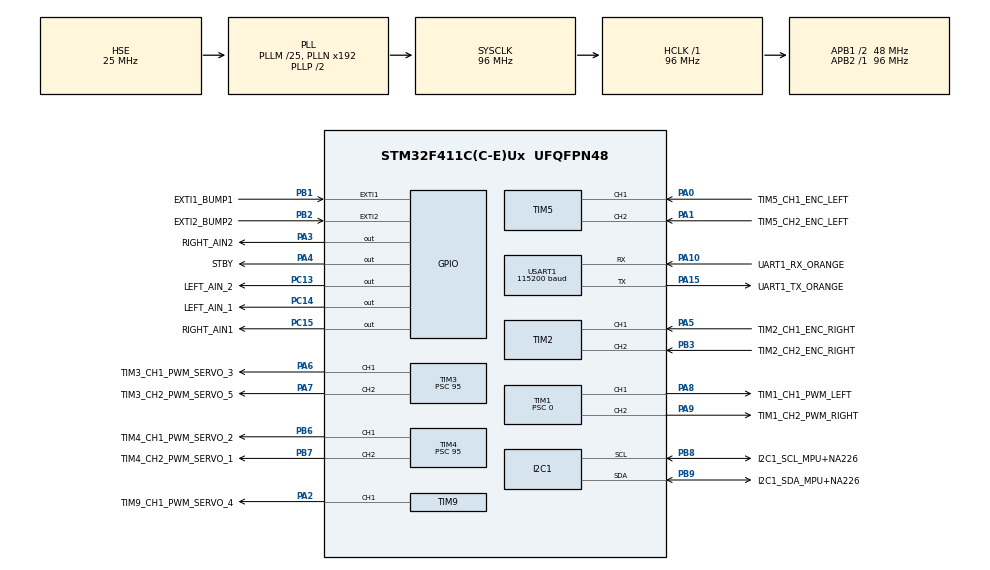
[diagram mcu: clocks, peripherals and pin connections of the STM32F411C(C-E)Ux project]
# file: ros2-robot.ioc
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Dma.Request0=USART1_RX
Dma.Request1=USART1_TX
Dma.USART1_RX.0.Direction=DMA_PERIPH_TO_MEMORY
Dma.USART1_RX.0.FIFOMode=DMA_FIFOMODE_DISABLE
Dma.USART1_RX.0.Instance=DMA2_Stream2
Dma.USART1_RX.0.MemDataAlignment=DMA_MDATAALIGN_BYTE
Dma.USART1_RX.0.MemInc=DMA_MINC_ENABLE
Dma.USART1_RX.0.Mode=DMA_CIRCULAR
Dma.USART1_RX.0.PeriphDataAlignment=DMA_PDATAALIGN_BYTE
Dma.USART1_RX.0.PeriphInc=DMA_PINC_DISABLE
Dma.USART1_RX.0.Priority=DMA_PRIORITY_LOW
Dma.USART1_TX.1.Direction=DMA_MEMORY_TO_PERIPH
Dma.USART1_TX.1.FIFOMode=DMA_FIFOMODE_DISABLE
Dma.USART1_TX.1.Instance=DMA2_Stream7
Dma.USART1_TX.1.MemDataAlignment=DMA_MDATAALIGN_BYTE
Dma.USART1_TX.1.MemInc=DMA_MINC_ENABLE
Dma.USART1_TX.1.Mode=DMA_NORMAL
Dma.USART1_TX.1.PeriphDataAlignment=DMA_PDATAALIGN_BYTE
Dma.USART1_TX.1.PeriphInc=DMA_PINC_DISABLE
Dma.USART1_TX.1.Priority=DMA_PRIORITY_LOW
FREERTOS.Tasks01=defaultTask,24,4096,StartDefaultTask,Default,NULL,Dynamic,NULL,NULL;motorTask,33,1024,MotorControlTask,Default,NULL,Dynamic,NULL,NULL
FREERTOS.configTOTAL_HEAP_SIZE=22000
Mcu.Family=STM32F4
Mcu.Name=STM32F411C(C-E)Ux
Mcu.Package=UFQFPN48
NVIC.DMA2_Stream2_IRQn=true\:5\:0\:false\:false\:true\:true\:false\:true\:true
NVIC.DMA2_Stream7_IRQn=true\:5\:0\:false\:false\:true\:true\:false\:true\:true
NVIC.PriorityGroup=NVIC_PRIORITYGROUP_4
NVIC.USART1_IRQn=true\:5\:0\:false\:false\:true\:true\:true\:true\:true
PA0-WKUP.GPIO_Label=TIM5_CH1_ENC_LEFT
PA0-WKUP.Signal=S_TIM5_CH1
PA1.GPIO_Label=TIM5_CH2_ENC_LEFT
PA1.Signal=S_TIM5_CH2
PA10.GPIO_Label=UART1_RX_ORANGE
PA10.Mode=Asynchronous
PA10.Signal=USART1_RX
PA15.GPIO_Label=UART1_TX_ORANGE
PA15.Mode=Asynchronous
PA15.Signal=USART1_TX
PA2.GPIO_Label=TIM9_CH1_PWM_SERVO_4
PA2.Signal=S_TIM9_CH1
PA3.GPIO_Label=RIGHT_AIN2
PA3.Signal=GPIO_Output
PA4.GPIO_Label=STBY
PA4.Signal=GPIO_Output
PA5.GPIO_Label=TIM2_CH1_ENC_RIGHT
PA5.Signal=S_TIM2_CH1_ETR
PA6.GPIO_Label=TIM3_CH1_PWM_SERVO_3
PA6.Signal=S_TIM3_CH1
PA7.GPIO_Label=TIM3_CH2_PWM_SERVO_5
PA7.Signal=S_TIM3_CH2
PA8.GPIO_Label=TIM1_CH1_PWM_LEFT
PA8.Signal=S_TIM1_CH1
PA9.GPIO_Label=TIM1_CH2_PWM_RIGHT
PA9.Signal=S_TIM1_CH2
PB1.GPIO_Label=EXTI1_BUMP1
PB1.GPIO_ModeDefaultEXTI=GPIO_MODE_IT_FALLING
PB1.GPIO_PuPd=GPIO_PULLUP
PB1.Signal=GPXTI1
PB2.GPIO_Label=EXTI2_BUMP2
PB2.GPIO_ModeDefaultEXTI=GPIO_MODE_IT_FALLING
PB2.GPIO_PuPd=GPIO_PULLUP
PB2.Signal=GPXTI2
PB3.GPIO_Label=TIM2_CH2_ENC_RIGHT
PB3.Signal=S_TIM2_CH2
PB6.GPIO_Label=TIM4_CH1_PWM_SERVO_2
PB6.Signal=S_TIM4_CH1
PB7.GPIO_Label=TIM4_CH2_PWM_SERVO_1
PB7.Signal=S_TIM4_CH2
PB8.GPIO_Label=I2C1_SCL_MPU+NA226
PB8.GPIO_Pu=GPIO_NOPULL
PB8.Mode=I2C
PB8.Signal=I2C1_SCL
PB9.GPIO_Label=I2C1_SDA_MPU+NA226
PB9.Mode=I2C
PB9.Signal=I2C1_SDA
PC13-ANTI_TAMP.GPIO_Label=LEFT_AIN_2
PC13-ANTI_TAMP.Signal=GPIO_Output
PC14-OSC32_IN.GPIO_Label=LEFT_AIN_1
PC14-OSC32_IN.Signal=GPIO_Output
PC15-OSC32_OUT.GPIO_Label=RIGHT_AIN1
PC15-OSC32_OUT.Signal=GPIO_Output
PH0\ -\ OSC_IN.Mode=HSE-External-Oscillator
PH0\ -\ OSC_IN.Signal=RCC_OSC_IN
PH1\ -\ OSC_OUT.Mode=HSE-External-Oscillator
PH1\ -\ OSC_OUT.Signal=RCC_OSC_OUT
ProjectManager.HeapSize=0x200
ProjectManager.StackSize=0x400
ProjectManager.TargetToolchain=STM32CubeIDE
RCC.48MHZClocksFreq_Value=48000000
RCC.AHBFreq_Value=96000000
RCC.APB1CLKDivider=RCC_HCLK_DIV2
RCC.APB1Freq_Value=48000000
RCC.APB1TimFreq_Value=96000000
RCC.APB2Freq_Value=96000000
RCC.APB2TimFreq_Value=96000000
RCC.CortexFreq_Value=96000000
RCC.HCLKFreq_Value=96000000
RCC.HSE_VALUE=25000000
RCC.HSI_VALUE=16000000
RCC.LSE_VALUE=32768
RCC.PLLM=25
RCC.PLLSourceVirtual=RCC_PLLSOURCE_HSE
RCC.SYSCLKFreq_VALUE=96000000
RCC.SYSCLKSource=RCC_SYSCLKSOURCE_PLLCLK
RCC.VCOOutputFreq_Value=192000000
SH.S_TIM1_CH1.0=TIM1_CH1,PWM Generation1 CH1
SH.S_TIM1_CH2.0=TIM1_CH2,PWM Generation2 CH2
SH.S_TIM2_CH1_ETR.0=TIM2_CH1,Encoder_Interface
SH.S_TIM2_CH2.0=TIM2_CH2,Encoder_Interface
SH.S_TIM3_CH1.0=TIM3_CH1,PWM Generation1 CH1
SH.S_TIM3_CH2.0=TIM3_CH2,PWM Generation2 CH2
SH.S_TIM4_CH1.0=TIM4_CH1,PWM Generation1 CH1
SH.S_TIM4_CH2.0=TIM4_CH2,PWM Generation2 CH2
SH.S_TIM5_CH1.0=TIM5_CH1,Encoder_Interface
SH.S_TIM5_CH2.0=TIM5_CH2,Encoder_Interface
SH.S_TIM9_CH1.0=TIM9_CH1,PWM Generation1 CH1
TIM1.Channel-PWM\ Generation1\ CH1=TIM_CHANNEL_1
TIM1.Channel-PWM\ Generation2\ CH2=TIM_CHANNEL_2
TIM1.Period=4799
TIM1.Prescaler=0
TIM2.EncoderMode=TIM_ENCODERMODE_TI12
TIM3.Channel-PWM\ Generation1\ CH1=TIM_CHANNEL_1
TIM3.Channel-PWM\ Generation2\ CH2=TIM_CHANNEL_2
TIM3.Period=19999
TIM3.Prescaler=95
TIM4.Channel-PWM\ Generation1\ CH1=TIM_CHANNEL_1
TIM4.Channel-PWM\ Generation2\ CH2=TIM_CHANNEL_2
TIM4.Period=19999
TIM4.Prescaler=95
TIM5.EncoderMode=TIM_ENCODERMODE_TI12
TIM9.Channel-PWM\ Generation1\ CH1=TIM_CHANNEL_1
TIM9.Period=19999
TIM9.Prescaler=95
USART1.BaudRate=115200
USART1.VirtualMode=VM_ASYNC
VP_FREERTOS_VS_CMSIS_V2.Mode=CMSIS_V2
board=custom

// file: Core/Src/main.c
/* USER CODE BEGIN Header */
/**
  ******************************************************************************
  * @file           : main.c
  * @brief          : Main program body
  ******************************************************************************
  * @attention
  *
  * Copyright (c) 2026 STMicroelectronics.
  * All rights reserved.
  *
  * This software is licensed under terms that can be found in the LICENSE file
  * in the root directory of this software component.
  * If no LICENSE file comes with this software, it is provided AS-IS.
  *
  ******************************************************************************
  */
/* USER CODE END Header */
#include "main.h"
#include "cmsis_os.h"

/* USER CODE BEGIN Includes */
#include "motor_control_task.h"
#include "peripherals.h"
/* USER CODE END Includes */

I2C_HandleTypeDef hi2c1;

TIM_HandleTypeDef htim1;
TIM_HandleTypeDef htim2;
TIM_HandleTypeDef htim3;
TIM_HandleTypeDef htim4;
TIM_HandleTypeDef htim5;
TIM_HandleTypeDef htim9;

UART_HandleTypeDef huart1;
DMA_HandleTypeDef hdma_usart1_rx;
DMA_HandleTypeDef hdma_usart1_tx;

/* Definitions for defaultTask */
osThreadId_t defaultTaskHandle;
const osThreadAttr_t defaultTask_attributes = {
  .name = "defaultTask",
  .stack_size = 4096 * 4,
  .priority = (osPriority_t) osPriorityNormal,
};
/* Definitions for motorTask */
osThreadId_t motorTaskHandle;
const osThreadAttr_t motorTask_attributes = {
  .name = "motorTask",
  .stack_size = 1024 * 4,
  .priority = (osPriority_t) osPriorityAboveNormal1,
};
/* USER CODE BEGIN PV */
volatile uint32_t g_reset_flags = 0;

/* USER CODE END PV */

void SystemClock_Config(void);
static void MX_GPIO_Init(void);
static void MX_DMA_Init(void);
static void MX_USART1_UART_Init(void);
static void MX_I2C1_Init(void);
static void MX_TIM1_Init(void);
static void MX_TIM2_Init(void);
static void MX_TIM3_Init(void);
static void MX_TIM4_Init(void);
static void MX_TIM5_Init(void);
static void MX_TIM9_Init(void);
void StartDefaultTask(void *argument);
void MotorControlTask(void *argument);

int main(void)
{

  /* MCU Configuration--------------------------------------------------------*/

  /* Reset of all peripherals, Initializes the Flash interface and the Systick. */
  HAL_Init();

  /* Configure the system clock */
  SystemClock_Config();

  /* Initialize all configured peripherals */
  MX_GPIO_Init();
  MX_DMA_Init();
  MX_USART1_UART_Init();
  MX_I2C1_Init();
  MX_TIM1_Init();
  MX_TIM2_Init();
  MX_TIM3_Init();
  MX_TIM4_Init();
  MX_TIM5_Init();
  MX_TIM9_Init();
  /* USER CODE BEGIN 2 */

  g_reset_flags = 0;

  if (__HAL_RCC_GET_FLAG(RCC_FLAG_PORRST))  g_reset_flags |= (1u << 0);
  if (__HAL_RCC_GET_FLAG(RCC_FLAG_PINRST))  g_reset_flags |= (1u << 1);
  if (__HAL_RCC_GET_FLAG(RCC_FLAG_SFTRST))  g_reset_flags |= (1u << 2);
  if (__HAL_RCC_GET_FLAG(RCC_FLAG_IWDGRST)) g_reset_flags |= (1u << 3);
  if (__HAL_RCC_GET_FLAG(RCC_FLAG_WWDGRST)) g_reset_flags |= (1u << 4);
  if (__HAL_RCC_GET_FLAG(RCC_FLAG_LPWRRST)) g_reset_flags |= (1u << 5);

  #ifdef RCC_FLAG_BORRST
  if (__HAL_RCC_GET_FLAG(RCC_FLAG_BORRST))  g_reset_flags |= (1u << 6);
  #endif

  __HAL_RCC_CLEAR_RESET_FLAGS();

  HAL_TIM_PWM_Start(&htim1, TIM_CHANNEL_1);
  HAL_TIM_PWM_Start(&htim1, TIM_CHANNEL_2);

  HAL_TIM_Encoder_Start(&htim2, TIM_CHANNEL_ALL);
  HAL_TIM_Encoder_Start(&htim5, TIM_CHANNEL_ALL);

  HAL_GPIO_WritePin(STBY_GPIO_Port, STBY_Pin, GPIO_PIN_SET);

  Periph_ServoStartAll();

  /* USER CODE END 2 */

  /* Init scheduler */
  osKernelInitialize();

  /* Create the thread(s) */
  /* creation of defaultTask */
  defaultTaskHandle = osThreadNew(StartDefaultTask, NULL, &defaultTask_attributes);

  /* creation of motorTask */
  motorTaskHandle = osThreadNew(MotorControlTask, NULL, &motorTask_attributes);

  /* Start scheduler */
  osKernelStart();

  /* We should never get here as control is now taken by the scheduler */
  /* Infinite loop */
  while (1)
  {

  }
}

void SystemClock_Config(void)
{
  RCC_OscInitTypeDef RCC_OscInitStruct = {0};
  RCC_ClkInitTypeDef RCC_ClkInitStruct = {0};

  /** Configure the main internal regulator output voltage
  */
  __HAL_RCC_PWR_CLK_ENABLE();
  __HAL_PWR_VOLTAGESCALING_CONFIG(PWR_REGULATOR_VOLTAGE_SCALE1);

  /** Initializes the RCC Oscillators according to the specified parameters
  * in the RCC_OscInitTypeDef structure.
  */
  RCC_OscInitStruct.OscillatorType = RCC_OSCILLATORTYPE_HSE;
  RCC_OscInitStruct.HSEState = RCC_HSE_ON;
  RCC_OscInitStruct.PLL.PLLState = RCC_PLL_ON;
  RCC_OscInitStruct.PLL.PLLSource = RCC_PLLSOURCE_HSE;
  RCC_OscInitStruct.PLL.PLLM = 25;
  RCC_OscInitStruct.PLL.PLLN = 192;
  RCC_OscInitStruct.PLL.PLLP = RCC_PLLP_DIV2;
  RCC_OscInitStruct.PLL.PLLQ = 4;
  if (HAL_RCC_OscConfig(&RCC_OscInitStruct) != HAL_OK)
  {
    Error_Handler();
  }

  /** Initializes the CPU, AHB and APB buses clocks
  */
  RCC_ClkInitStruct.ClockType = RCC_CLOCKTYPE_HCLK|RCC_CLOCKTYPE_SYSCLK
                              |RCC_CLOCKTYPE_PCLK1|RCC_CLOCKTYPE_PCLK2;
  RCC_ClkInitStruct.SYSCLKSource = RCC_SYSCLKSOURCE_PLLCLK;
  RCC_ClkInitStruct.AHBCLKDivider = RCC_SYSCLK_DIV1;
  RCC_ClkInitStruct.APB1CLKDivider = RCC_HCLK_DIV2;
  RCC_ClkInitStruct.APB2CLKDivider = RCC_HCLK_DIV1;

  if (HAL_RCC_ClockConfig(&RCC_ClkInitStruct, FLASH_LATENCY_3) != HAL_OK)
  {
    Error_Handler();
  }
}

static void MX_I2C1_Init(void)
{

  hi2c1.Instance = I2C1;
  hi2c1.Init.ClockSpeed = 100000;
  hi2c1.Init.DutyCycle = I2C_DUTYCYCLE_2;
  hi2c1.Init.OwnAddress1 = 0;
  hi2c1.Init.AddressingMode = I2C_ADDRESSINGMODE_7BIT;
  hi2c1.Init.DualAddressMode = I2C_DUALADDRESS_DISABLE;
  hi2c1.Init.OwnAddress2 = 0;
  hi2c1.Init.GeneralCallMode = I2C_GENERALCALL_DISABLE;
  hi2c1.Init.NoStretchMode = I2C_NOSTRETCH_DISABLE;
  if (HAL_I2C_Init(&hi2c1) != HAL_OK)
  {
    Error_Handler();
  }

}

static void MX_TIM1_Init(void)
{

  TIM_MasterConfigTypeDef sMasterConfig = {0};
  TIM_OC_InitTypeDef sConfigOC = {0};
  TIM_BreakDeadTimeConfigTypeDef sBreakDeadTimeConfig = {0};

  htim1.Instance = TIM1;
  htim1.Init.Prescaler = 0;
  htim1.Init.CounterMode = TIM_COUNTERMODE_UP;
  htim1.Init.Period = 4799;
  htim1.Init.ClockDivision = TIM_CLOCKDIVISION_DIV1;
  htim1.Init.RepetitionCounter = 0;
  htim1.Init.AutoReloadPreload = TIM_AUTORELOAD_PRELOAD_DISABLE;
  if (HAL_TIM_PWM_Init(&htim1) != HAL_OK)
  {
    Error_Handler();
  }
  sMasterConfig.MasterOutputTrigger = TIM_TRGO_RESET;
  sMasterConfig.MasterSlaveMode = TIM_MASTERSLAVEMODE_DISABLE;
  if (HAL_TIMEx_MasterConfigSynchronization(&htim1, &sMasterConfig) != HAL_OK)
  {
    Error_Handler();
  }
  sConfigOC.OCMode = TIM_OCMODE_PWM1;
  sConfigOC.Pulse = 0;
  sConfigOC.OCPolarity = TIM_OCPOLARITY_HIGH;
  sConfigOC.OCNPolarity = TIM_OCNPOLARITY_HIGH;
  sConfigOC.OCFastMode = TIM_OCFAST_DISABLE;
  sConfigOC.OCIdleState = TIM_OCIDLESTATE_RESET;
  sConfigOC.OCNIdleState = TIM_OCNIDLESTATE_RESET;
  if (HAL_TIM_PWM_ConfigChannel(&htim1, &sConfigOC, TIM_CHANNEL_1) != HAL_OK)
  {
    Error_Handler();
  }
  if (HAL_TIM_PWM_ConfigChannel(&htim1, &sConfigOC, TIM_CHANNEL_2) != HAL_OK)
  {
    Error_Handler();
  }
  sBreakDeadTimeConfig.OffStateRunMode = TIM_OSSR_DISABLE;
  sBreakDeadTimeConfig.OffStateIDLEMode = TIM_OSSI_DISABLE;
  sBreakDeadTimeConfig.LockLevel = TIM_LOCKLEVEL_OFF;
  sBreakDeadTimeConfig.DeadTime = 0;
  sBreakDeadTimeConfig.BreakState = TIM_BREAK_DISABLE;
  sBreakDeadTimeConfig.BreakPolarity = TIM_BREAKPOLARITY_HIGH;
  sBreakDeadTimeConfig.AutomaticOutput = TIM_AUTOMATICOUTPUT_DISABLE;
  if (HAL_TIMEx_ConfigBreakDeadTime(&htim1, &sBreakDeadTimeConfig) != HAL_OK)
  {
    Error_Handler();
  }
  HAL_TIM_MspPostInit(&htim1);

}

static void MX_TIM2_Init(void)
{

  TIM_Encoder_InitTypeDef sConfig = {0};
  TIM_MasterConfigTypeDef sMasterConfig = {0};

  htim2.Instance = TIM2;
  htim2.Init.Prescaler = 0;
  htim2.Init.CounterMode = TIM_COUNTERMODE_UP;
  htim2.Init.Period = 4294967295;
  htim2.Init.ClockDivision = TIM_CLOCKDIVISION_DIV1;
  htim2.Init.AutoReloadPreload = TIM_AUTORELOAD_PRELOAD_DISABLE;
  sConfig.EncoderMode = TIM_ENCODERMODE_TI12;
  sConfig.IC1Polarity = TIM_ICPOLARITY_RISING;
  sConfig.IC1Selection = TIM_ICSELECTION_DIRECTTI;
  sConfig.IC1Prescaler = TIM_ICPSC_DIV1;
  sConfig.IC1Filter = 0;
  sConfig.IC2Polarity = TIM_ICPOLARITY_RISING;
  sConfig.IC2Selection = TIM_ICSELECTION_DIRECTTI;
  sConfig.IC2Prescaler = TIM_ICPSC_DIV1;
  sConfig.IC2Filter = 0;
  if (HAL_TIM_Encoder_Init(&htim2, &sConfig) != HAL_OK)
  {
    Error_Handler();
  }
  sMasterConfig.MasterOutputTrigger = TIM_TRGO_RESET;
  sMasterConfig.MasterSlaveMode = TIM_MASTERSLAVEMODE_DISABLE;
  if (HAL_TIMEx_MasterConfigSynchronization(&htim2, &sMasterConfig) != HAL_OK)
  {
    Error_Handler();
  }

}

static void MX_TIM3_Init(void)
{

  TIM_MasterConfigTypeDef sMasterConfig = {0};
  TIM_OC_InitTypeDef sConfigOC = {0};

  htim3.Instance = TIM3;
  htim3.Init.Prescaler = 95;
  htim3.Init.CounterMode = TIM_COUNTERMODE_UP;
  htim3.Init.Period = 19999;
  htim3.Init.ClockDivision = TIM_CLOCKDIVISION_DIV1;
  htim3.Init.AutoReloadPreload = TIM_AUTORELOAD_PRELOAD_DISABLE;
  if (HAL_TIM_PWM_Init(&htim3) != HAL_OK)
  {
    Error_Handler();
  }
  sMasterConfig.MasterOutputTrigger = TIM_TRGO_RESET;
  sMasterConfig.MasterSlaveMode = TIM_MASTERSLAVEMODE_DISABLE;
  if (HAL_TIMEx_MasterConfigSynchronization(&htim3, &sMasterConfig) != HAL_OK)
  {
    Error_Handler();
  }
  sConfigOC.OCMode = TIM_OCMODE_PWM1;
  sConfigOC.Pulse = 0;
  sConfigOC.OCPolarity = TIM_OCPOLARITY_HIGH;
  sConfigOC.OCFastMode = TIM_OCFAST_DISABLE;
  if (HAL_TIM_PWM_ConfigChannel(&htim3, &sConfigOC, TIM_CHANNEL_1) != HAL_OK)
  {
    Error_Handler();
  }
  if (HAL_TIM_PWM_ConfigChannel(&htim3, &sConfigOC, TIM_CHANNEL_2) != HAL_OK)
  {
    Error_Handler();
  }
  HAL_TIM_MspPostInit(&htim3);

}

static void MX_TIM4_Init(void)
{

  TIM_MasterConfigTypeDef sMasterConfig = {0};
  TIM_OC_InitTypeDef sConfigOC = {0};

  htim4.Instance = TIM4;
  htim4.Init.Prescaler = 95;
  htim4.Init.CounterMode = TIM_COUNTERMODE_UP;
  htim4.Init.Period = 19999;
  htim4.Init.ClockDivision = TIM_CLOCKDIVISION_DIV1;
  htim4.Init.AutoReloadPreload = TIM_AUTORELOAD_PRELOAD_DISABLE;
  if (HAL_TIM_PWM_Init(&htim4) != HAL_OK)
  {
    Error_Handler();
  }
  sMasterConfig.MasterOutputTrigger = TIM_TRGO_RESET;
  sMasterConfig.MasterSlaveMode = TIM_MASTERSLAVEMODE_DISABLE;
  if (HAL_TIMEx_MasterConfigSynchronization(&htim4, &sMasterConfig) != HAL_OK)
  {
    Error_Handler();
  }
  sConfigOC.OCMode = TIM_OCMODE_PWM1;
  sConfigOC.Pulse = 0;
  sConfigOC.OCPolarity = TIM_OCPOLARITY_HIGH;
  sConfigOC.OCFastMode = TIM_OCFAST_DISABLE;
  if (HAL_TIM_PWM_ConfigChannel(&htim4, &sConfigOC, TIM_CHANNEL_1) != HAL_OK)
  {
    Error_Handler();
  }
  if (HAL_TIM_PWM_ConfigChannel(&htim4, &sConfigOC, TIM_CHANNEL_2) != HAL_OK)
  {
    Error_Handler();
  }
  HAL_TIM_MspPostInit(&htim4);

}

static void MX_TIM5_Init(void)
{

  TIM_Encoder_InitTypeDef sConfig = {0};
  TIM_MasterConfigTypeDef sMasterConfig = {0};

  htim5.Instance = TIM5;
  htim5.Init.Prescaler = 0;
  htim5.Init.CounterMode = TIM_COUNTERMODE_UP;
  htim5.Init.Period = 4294967295;
  htim5.Init.ClockDivision = TIM_CLOCKDIVISION_DIV1;
  htim5.Init.AutoReloadPreload = TIM_AUTORELOAD_PRELOAD_DISABLE;
  sConfig.EncoderMode = TIM_ENCODERMODE_TI12;
  sConfig.IC1Polarity = TIM_ICPOLARITY_RISING;
  sConfig.IC1Selection = TIM_ICSELECTION_DIRECTTI;
  sConfig.IC1Prescaler = TIM_ICPSC_DIV1;
  sConfig.IC1Filter = 0;
  sConfig.IC2Polarity = TIM_ICPOLARITY_RISING;
  sConfig.IC2Selection = TIM_ICSELECTION_DIRECTTI;
  sConfig.IC2Prescaler = TIM_ICPSC_DIV1;
  sConfig.IC2Filter = 0;
  if (HAL_TIM_Encoder_Init(&htim5, &sConfig) != HAL_OK)
  {
    Error_Handler();
  }
  sMasterConfig.MasterOutputTrigger = TIM_TRGO_RESET;
  sMasterConfig.MasterSlaveMode = TIM_MASTERSLAVEMODE_DISABLE;
  if (HAL_TIMEx_MasterConfigSynchronization(&htim5, &sMasterConfig) != HAL_OK)
  {
    Error_Handler();
  }

}

static void MX_TIM9_Init(void)
{

  TIM_OC_InitTypeDef sConfigOC = {0};

  htim9.Instance = TIM9;
  htim9.Init.Prescaler = 95;
  htim9.Init.CounterMode = TIM_COUNTERMODE_UP;
  htim9.Init.Period = 19999;
  htim9.Init.ClockDivision = TIM_CLOCKDIVISION_DIV1;
  htim9.Init.AutoReloadPreload = TIM_AUTORELOAD_PRELOAD_DISABLE;
  if (HAL_TIM_PWM_Init(&htim9) != HAL_OK)
  {
    Error_Handler();
  }
  sConfigOC.OCMode = TIM_OCMODE_PWM1;
  sConfigOC.Pulse = 0;
  sConfigOC.OCPolarity = TIM_OCPOLARITY_HIGH;
  sConfigOC.OCFastMode = TIM_OCFAST_DISABLE;
  if (HAL_TIM_PWM_ConfigChannel(&htim9, &sConfigOC, TIM_CHANNEL_1) != HAL_OK)
  {
    Error_Handler();
  }
  HAL_TIM_MspPostInit(&htim9);

}

static void MX_USART1_UART_Init(void)
{

  huart1.Instance = USART1;
  huart1.Init.BaudRate = 115200;
  huart1.Init.WordLength = UART_WORDLENGTH_8B;
  huart1.Init.StopBits = UART_STOPBITS_1;
  huart1.Init.Parity = UART_PARITY_NONE;
  huart1.Init.Mode = UART_MODE_TX_RX;
  huart1.Init.HwFlowCtl = UART_HWCONTROL_NONE;
  huart1.Init.OverSampling = UART_OVERSAMPLING_16;
  if (HAL_UART_Init(&huart1) != HAL_OK)
  {
    Error_Handler();
  }

}

static void MX_DMA_Init(void)
{

  /* DMA controller clock enable */
  __HAL_RCC_DMA2_CLK_ENABLE();

  /* DMA interrupt init */
  /* DMA2_Stream2_IRQn interrupt configuration */
  HAL_NVIC_SetPriority(DMA2_Stream2_IRQn, 5, 0);
  HAL_NVIC_EnableIRQ(DMA2_Stream2_IRQn);
  /* DMA2_Stream7_IRQn interrupt configuration */
  HAL_NVIC_SetPriority(DMA2_Stream7_IRQn, 5, 0);
  HAL_NVIC_EnableIRQ(DMA2_Stream7_IRQn);

}

static void MX_GPIO_Init(void)
{
  GPIO_InitTypeDef GPIO_InitStruct = {0};

  /* GPIO Ports Clock Enable */
  __HAL_RCC_GPIOC_CLK_ENABLE();
  __HAL_RCC_GPIOH_CLK_ENABLE();
  __HAL_RCC_GPIOA_CLK_ENABLE();
  __HAL_RCC_GPIOB_CLK_ENABLE();

  /*Configure GPIO pin Output Level */
  HAL_GPIO_WritePin(GPIOC, LEFT_AIN_2_Pin|LEFT_AIN_1_Pin|RIGHT_AIN1_Pin, GPIO_PIN_RESET);

  /*Configure GPIO pin Output Level */
  HAL_GPIO_WritePin(GPIOA, RIGHT_AIN2_Pin|STBY_Pin, GPIO_PIN_RESET);

  /*Configure GPIO pins : LEFT_AIN_2_Pin LEFT_AIN_1_Pin RIGHT_AIN1_Pin */
  GPIO_InitStruct.Pin = LEFT_AIN_2_Pin|LEFT_AIN_1_Pin|RIGHT_AIN1_Pin;
  GPIO_InitStruct.Mode = GPIO_MODE_OUTPUT_PP;
  GPIO_InitStruct.Pull = GPIO_NOPULL;
  GPIO_InitStruct.Speed = GPIO_SPEED_FREQ_LOW;
  HAL_GPIO_Init(GPIOC, &GPIO_InitStruct);

  /*Configure GPIO pins : RIGHT_AIN2_Pin STBY_Pin */
  GPIO_InitStruct.Pin = RIGHT_AIN2_Pin|STBY_Pin;
  GPIO_InitStruct.Mode = GPIO_MODE_OUTPUT_PP;
  GPIO_InitStruct.Pull = GPIO_NOPULL;
  GPIO_InitStruct.Speed = GPIO_SPEED_FREQ_LOW;
  HAL_GPIO_Init(GPIOA, &GPIO_InitStruct);

  /*Configure GPIO pins : EXTI1_BUMP1_Pin EXTI2_BUMP2_Pin */
  GPIO_InitStruct.Pin = EXTI1_BUMP1_Pin|EXTI2_BUMP2_Pin;
  GPIO_InitStruct.Mode = GPIO_MODE_IT_FALLING;
  GPIO_InitStruct.Pull = GPIO_PULLUP;
  HAL_GPIO_Init(GPIOB, &GPIO_InitStruct);

}

/* USER CODE BEGIN 4 */
#define UART_DMA_BUFFER_SIZE 2048

extern uint8_t dma_buffer[];
extern volatile size_t dma_head;
extern volatile size_t dma_tail;

void HAL_UART_ErrorCallback(UART_HandleTypeDef *huart)
{
    if (huart->Instance == USART1) {
        HAL_UART_AbortReceive(huart);

        __HAL_UART_CLEAR_OREFLAG(huart);
        __HAL_UART_CLEAR_NEFLAG(huart);
        __HAL_UART_CLEAR_FEFLAG(huart);
        __HAL_UART_CLEAR_PEFLAG(huart);

        dma_head = 0;
        dma_tail = 0;

        HAL_UART_Receive_DMA(huart, dma_buffer, UART_DMA_BUFFER_SIZE);
    }
}
/* USER CODE END 4 */

void StartDefaultTask(void *argument)
{
  /* USER CODE BEGIN 5 */
  /* Infinite loop */
	  for(;;)
	  {
		  extern void cpp_entry_point(void);
		  cpp_entry_point();
	  }
  /* USER CODE END 5 */
}

void MotorControlTask(void *argument)
{
  /* USER CODE BEGIN MotorControlTask */
	MotorControl_TaskFunc(argument);
  /* USER CODE END MotorControlTask */
}

void Error_Handler(void)
{
  __disable_irq();
  while (1)
  {
  }
}
